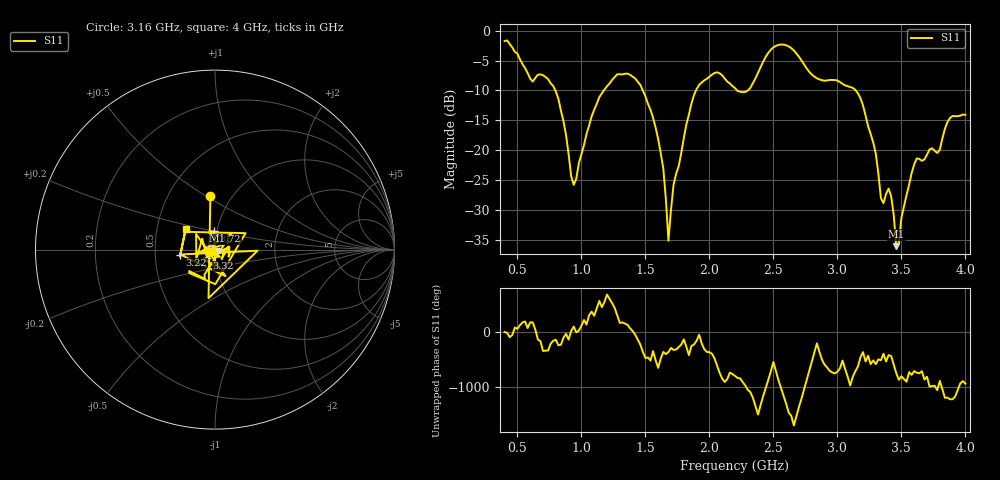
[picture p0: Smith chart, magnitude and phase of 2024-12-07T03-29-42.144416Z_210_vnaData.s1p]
!Created with skrf (http://scikit-rf.org).
# Hz S RI R 50.0
!freq ReS11 ImS11
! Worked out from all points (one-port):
!   181 points, 400 MHz to 4 GHz, reference 50 ohm
!   lowest |S11| = -36.0 dB at 3.46 GHz (marker M1), VSWR 1.03, Z = 51.5 - j0.704 ohm
!   |S11| at or under -10 dB: 796.2 MHz to 1.175 GHz (379.2 MHz wide, 38.5 % of centre); 1.48 GHz to 1.895 GHz (415.2 MHz wide, 24.6 % of centre); 3.144 GHz to end of sweep (the widest 3 of 4)
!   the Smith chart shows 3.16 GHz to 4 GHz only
!   S11 on the Smith chart (normalised r, x): 3.16 GHz: 0.80, +0.52; 3.22 GHz: 0.67, -0.04; 3.32 GHz: 0.91, -0.09; 3.72 GHz: 0.97, +0.20; 4 GHz: 0.70, +0.17
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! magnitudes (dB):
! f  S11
! 400 MHz  -1.8
! 620 MHz  -8.5
! 780 MHz  -9.3
! 860 MHz  -15.2
! 940 MHz  -25.7
! 1.14 GHz  -11.1
! 1.3 GHz  -7.3
! 1.46 GHz  -9.1
! 1.56 GHz  -14.6
! 1.64 GHz  -23.0
! 1.68 GHz  -35.1
! 1.72 GHz  -25.7
! 1.76 GHz  -22.6
! 1.92 GHz  -9.1
! 2.2 GHz  -9.6
! 2.3 GHz  -10.0
! 2.5 GHz  -2.8
! 2.66 GHz  -3.3
! 3.1 GHz  -9.4
! 3.16 GHz  -10.5
! 3.22 GHz  -14.2
! 3.32 GHz  -23.8
! 3.36 GHz  -28.8
! 3.42 GHz  -27.6
! 3.46 GHz  -36.0
! 3.56 GHz  -25.8
! 3.72 GHz  -19.8
! 4 GHz  -14.1
